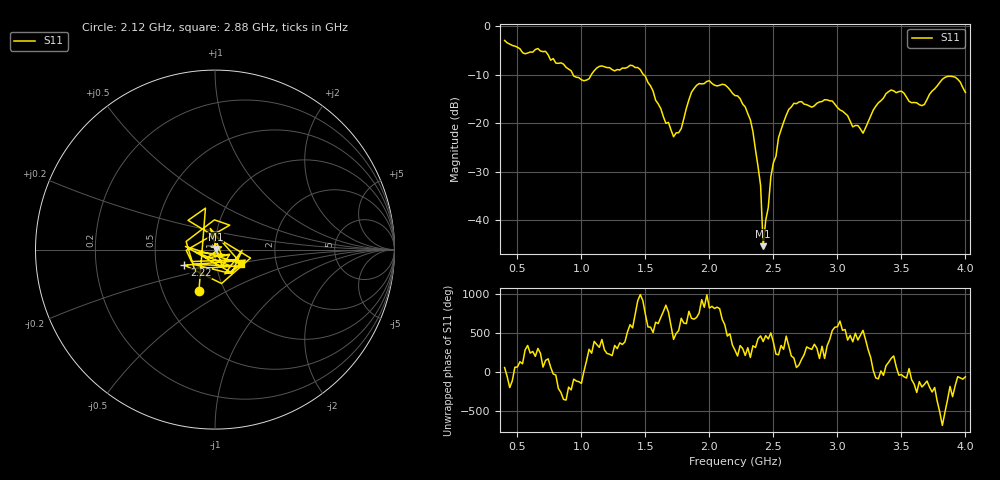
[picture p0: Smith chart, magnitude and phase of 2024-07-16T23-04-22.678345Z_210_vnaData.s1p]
!Created with skrf (http://scikit-rf.org).
# Hz S RI R 50.0
!freq ReS11 ImS11
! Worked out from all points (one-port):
!   181 points, 400 MHz to 4 GHz, reference 50 ohm
!   lowest |S11| = -45.4 dB at 2.42 GHz (marker M1), VSWR 1.01, Z = 50.5 + j0.29 ohm
!   |S11| at or under -10 dB: 935 MHz to 1.078 GHz (142.5 MHz wide, 14.2 % of centre); 1.486 GHz to end of sweep
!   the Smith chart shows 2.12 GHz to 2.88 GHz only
!   S11 on the Smith chart (normalised r, x): 2.12 GHz: 0.76, -0.37; 2.22 GHz: 0.70, -0.13; 2.88 GHz: 1.33, -0.22
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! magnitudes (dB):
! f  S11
! 400 MHz  -2.9
! 860 MHz  -7.8
! 1.02 GHz  -11.2
! 1.14 GHz  -8.3
! 1.3 GHz  -9.0
! 1.46 GHz  -8.9
! 1.72 GHz  -22.8
! 1.76 GHz  -22.0
! 1.9 GHz  -12.2
! 2.12 GHz  -12.1
! 2.2 GHz  -14.3
! 2.22 GHz  -14.4
! 2.34 GHz  -21.7
! 2.4 GHz  -32.8
! 2.42 GHz  -45.4
! 2.46 GHz  -37.4
! 2.48 GHz  -31.1
! 2.54 GHz  -23.0
! 2.66 GHz  -15.9
! 2.88 GHz  -15.5
! 2.96 GHz  -15.4
! 3.1 GHz  -19.6
! 3.2 GHz  -22.1
! 3.42 GHz  -13.2
! 3.56 GHz  -15.5
! 3.68 GHz  -16.1
! 3.86 GHz  -10.3
! 4 GHz  -13.7
